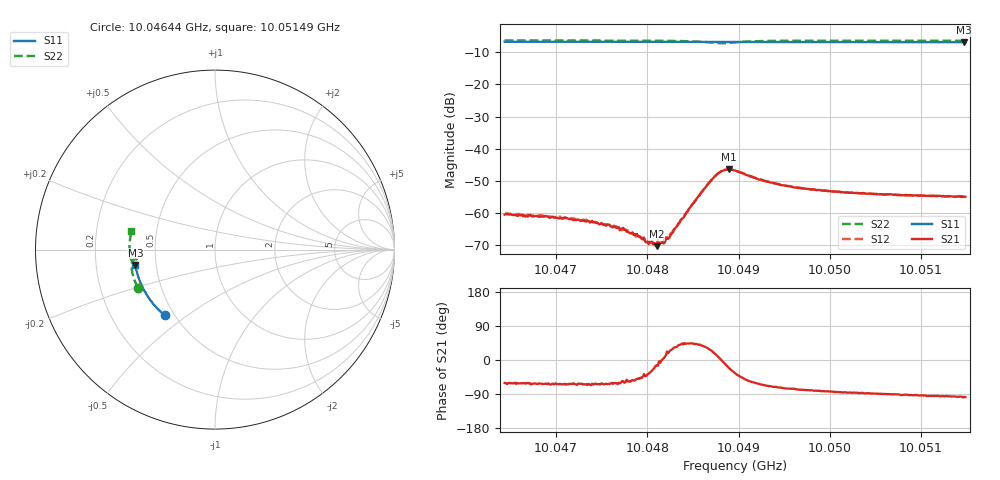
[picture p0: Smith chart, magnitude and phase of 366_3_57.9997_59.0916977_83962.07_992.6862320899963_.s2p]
#  HZ  S  RI  R  50.00
! Rohde & Schwarz Vector Network Analyzer
! Rohde-Schwarz,ZNB20-2Port,1311601062101988,3.16
! Created: UTC 3/21/2024, 1:06:44 AM
! freq[Hz]  re:S11  im:S11  re:S21  im:S21  re:S12  im:S12  re:S22  im:S22
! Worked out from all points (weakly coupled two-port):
!   401 points, 10.04644 GHz to 10.05149 GHz, reference 50 ohm
!   highest |S21| = -46.47 dB at 10.0489 GHz (marker M1); lowest = -70.3 dB at 10.0481 GHz (marker M2)
!   lowest |S11| = -6.9 dB at 10.05147 GHz (marker M3), VSWR 2.65, Z = 19 - j4.09 ohm
!   |S11| at or under -10 dB: nowhere
!   |S22| runs from -7.2 to -6.4 dB; largest |S21 - S12| = 0.00038
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1.0046435e10  -0.2807 -0.3656  0.000463 -0.000823  0.000536 -0.000821  -0.4314 -0.2127
1.0047092e10  -0.3128 -0.3366  0.000391 -0.000761  0.000412 -0.000733  -0.448 -0.1718
1.0047281e10  -0.3217 -0.3277  0.000352 -0.000677  0.000392 -0.000666  -0.452 -0.1595
1.004766e10  -0.3383 -0.3091  0.000284 -0.000511  0.000346 -0.000514  -0.459 -0.1339
1.0047735e10  -0.3417 -0.3053  0.000327 -0.000487  0.00032 -0.000458  -0.4603 -0.1286
1.0047937e10  -0.35 -0.2951  0.000269 -0.000292  0.000313 -0.000275  -0.463 -0.1139
1.0048001e10  -0.3526 -0.2915  0.000284 -0.00022  0.000275 -0.000231  -0.4636 -0.1091
1.0048102e10  -0.3566 -0.2865  0.000297 -7.13e-05  0.000328 -3.86e-05  -0.4646 -0.1014
1.0048127e10  -0.3576 -0.2851  0.000345 -1.96e-05  0.000362 -2.61e-05  -0.4649 -0.0995
1.0048177e10  -0.3598 -0.2823  0.000334 2.43e-05  0.000362 5.67e-05  -0.465 -0.0955
1.0048253e10  -0.3626 -0.2783  0.000404 0.000194  0.000412 0.00024  -0.465 -0.0892
1.004848e10  -0.3711 -0.2661  0.00092 0.00089  0.000876 0.000962  -0.4616 -0.0686
1.0048733e10  -0.3799 -0.2519  0.00347 0.00111  0.00338 0.00133  -0.439 -0.0535
1.0048821e10  -0.3827 -0.2472  0.00451 -0.000213  0.00453 3.05e-05  -0.4312 -0.0623
1.0048897e10  -0.3853 -0.2431  0.0044 -0.00178  0.00453 -0.00143  -0.4348 -0.072
1.004896e10  -0.3875 -0.2396  0.00376 -0.00264  0.0039 -0.00238  -0.4427 -0.0755
1.00492e10  -0.3955 -0.2259  0.00161 -0.00301  0.00179 -0.00296  -0.4651 -0.0607
1.004944e10  -0.4027 -0.2119  0.000821 -0.00264  0.000994 -0.00266  -0.4725 -0.0403
1.0049806e10  -0.4128 -0.19  0.000401 -0.0023  0.000513 -0.00229  -0.4762 -0.0121
1.0050652e10  -0.4317 -0.1379  -4.95e-06 -0.00196  8.05e-05 -0.00195  -0.4743 0.0469
1.0051472e10  -0.4438 -0.0855  -0.000222 -0.00179  -0.000136 -0.00179  -0.4656 0.101
1.0051485e10  -0.444 -0.0849  -0.000248 -0.00177  -0.000148 -0.00179  -0.4652 0.1019
